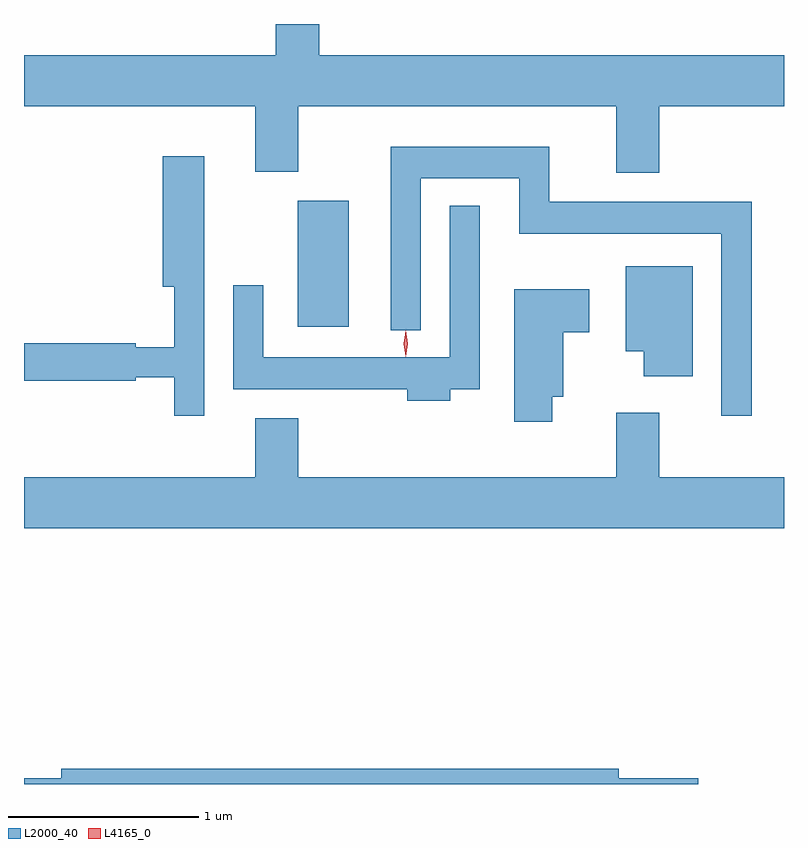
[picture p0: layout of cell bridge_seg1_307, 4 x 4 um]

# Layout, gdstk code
import gdstk
lib = gdstk.Library(unit=1e-6, precision=1e-09)
def R(c, l, rs):  # rectangles x0, y0, x1, y1
    for r in rs: c.add(gdstk.rectangle(r[:2], r[2:], *l))
def P(c, l, *ps):  # polygons
    for p in ps: c.add(gdstk.Polygon(p, *l))
L2000_40 = (2000, 40)
L4165_0 = (4165, 0)

bridge_seg1_307 = lib.new_cell('bridge_seg1_307')
R(bridge_seg1_307, L2000_40, [(888.296,873.996,888.564,874.659)])
P(bridge_seg1_307, L2000_40, [(888.299,875.156),(889.971,875.156),(889.971,874.806),(890.199,874.806),(890.199,875.156),(890.855,875.156),(890.855,875.424),(888.409,875.424),(888.409,875.589),(888.181,875.589),(888.181,875.424),(886.855,875.424),(886.855,875.156),(888.071,875.156),(888.071,874.811),(888.299,874.811)],
  [(890.684,874.654),(889.619,874.654),(889.619,874.944),(888.786,874.944),(888.786,873.978),(888.944,873.978),(888.944,874.776),(889.461,874.776),(889.461,874.486),(890.526,874.486),(890.526,873.528),(890.684,873.528)],
  [(887.804,874.894),(887.586,874.894),(887.586,874.206),(887.646,874.206),(887.646,873.889),(887.444,873.889),(887.444,873.909),(886.855,873.909),(886.855,873.711),(887.444,873.711),(887.444,873.731),(887.646,873.731),(887.646,873.528),(887.804,873.528)],
  [(889.099,873.666),(889.254,873.666),(889.254,874.633),(889.096,874.633),(889.096,873.834),(888.114,873.834),(888.114,874.213),(887.956,874.213),(887.956,873.666),(888.871,873.666),(888.871,873.606),(889.099,873.606)],
  [(890.374,874.314),(890.021,874.314),(890.021,873.866),(890.116,873.866),(890.116,873.736),(890.374,873.736)],
  [(889.634,873.626),(889.694,873.626),(889.694,873.966),(889.829,873.966),(889.829,874.194),(889.436,874.194),(889.436,873.496),(889.634,873.496)],
  [(890.855,873.204),(890.199,873.204),(890.199,873.544),(889.971,873.544),(889.971,873.204),(888.299,873.204),(888.299,873.514),(888.071,873.514),(888.071,873.204),(886.855,873.204),(886.855,872.936),(890.855,872.936)],
  [(890.404,871.619),(889.984,871.619),(889.984,871.669),(887.051,871.669),(887.051,871.619),(886.855,871.619),(886.855,871.589),(890.404,871.589)])
P(bridge_seg1_307, L4165_0, [(888.864,873.837),(888.855,873.906),(888.864,873.976),(888.865,873.976),(888.865,873.976),(888.875,873.906),(888.865,873.837),(888.865,873.837)],
  [(888.864,873.839),(888.864,873.84),(888.854,873.906),(888.864,873.972),(888.864,873.973),(888.865,873.972),(888.874,873.906),(888.865,873.84)])

lib.write_gds('bridge_seg1_307.gds')
